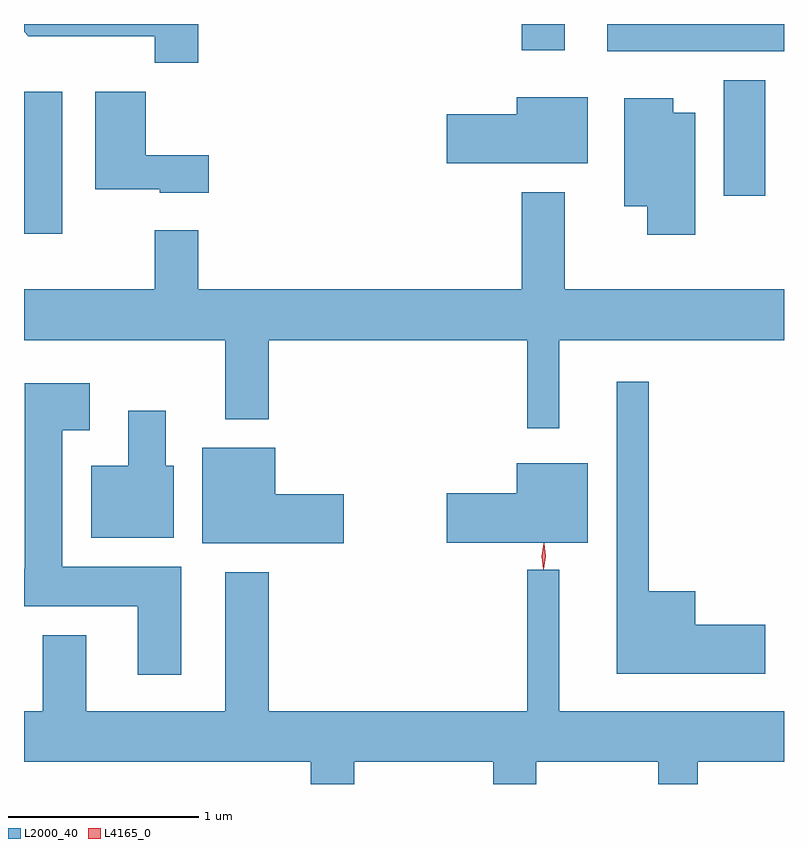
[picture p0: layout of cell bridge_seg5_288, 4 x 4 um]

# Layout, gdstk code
import gdstk
lib = gdstk.Library(unit=1e-6, precision=1e-09)
def R(c, l, rs):  # rectangles x0, y0, x1, y1
    for r in rs: c.add(gdstk.rectangle(r[:2], r[2:], *l))
def P(c, l, *ps):  # polygons
    for p in ps: c.add(gdstk.Polygon(p, *l))
L2000_40 = (2000, 40)
L4165_0 = (4165, 0)

bridge_seg5_288 = lib.new_cell('bridge_seg5_288')
R(bridge_seg5_288, L2000_40, [(668.542,1512.856,668.744,1513.604), (672.226,1513.056,672.444,1513.664), (671.613,1513.816,672.542,1513.96), (671.161,1513.821,671.389,1513.96)])
P(bridge_seg5_288, L2000_40, [(669.459,1513.96),(668.542,1513.96),(668.542,1513.918),(668.564,1513.896),(669.231,1513.896),(669.231,1513.756),(669.459,1513.756)],
  [(669.514,1513.269),(669.184,1513.269),(669.184,1513.604),(668.916,1513.604),(668.916,1513.091),(669.256,1513.091),(669.256,1513.071),(669.514,1513.071)],
  [(671.509,1513.574),(671.136,1513.574),(671.136,1513.484),(670.766,1513.484),(670.766,1513.226),(671.509,1513.226)],
  [(672.074,1513.494),(671.959,1513.494),(671.959,1513.569),(671.701,1513.569),(671.701,1513.001),(671.821,1513.001),(671.821,1512.851),(672.074,1512.851)],
  [(671.359,1512.296),(672.542,1512.296),(672.542,1512.564),(671.389,1512.564),(671.389,1513.074),(671.161,1513.074),(671.161,1512.564),(669.459,1512.564),(669.459,1512.874),(669.231,1512.874),(669.231,1512.564),(668.542,1512.564),(668.542,1512.296),(669.601,1512.296),(669.601,1511.881),(669.829,1511.881),(669.829,1512.296),(671.191,1512.296),(671.191,1511.833),(671.359,1511.833)],
  [(672.444,1510.799),(672.074,1510.799),(672.074,1510.974),(671.829,1510.974),(671.829,1512.078),(671.661,1512.078),(671.661,1510.541),(672.444,1510.541)],
  [(669.369,1511.104),(668.744,1511.104),(668.744,1511.821),(668.889,1511.821),(668.889,1512.069),(668.546,1512.069),(668.546,1511.094),(668.542,1511.094),(668.542,1510.896),(669.141,1510.896),(669.141,1510.536),(669.369,1510.536)],
  [(669.329,1511.634),(669.289,1511.634),(669.289,1511.924),(669.091,1511.924),(669.091,1511.634),(668.896,1511.634),(668.896,1511.256),(669.329,1511.256)],
  [(670.224,1511.484),(669.864,1511.484),(669.864,1511.729),(669.481,1511.729),(669.481,1511.226),(670.224,1511.226)],
  [(671.509,1511.649),(671.136,1511.649),(671.136,1511.489),(670.766,1511.489),(670.766,1511.231),(671.509,1511.231)],
  [(670.279,1510.076),(671.011,1510.076),(671.011,1509.96),(671.239,1509.96),(671.239,1510.076),(671.881,1510.076),(671.881,1509.96),(672.089,1509.96),(672.089,1510.076),(672.542,1510.076),(672.542,1510.344),(671.359,1510.344),(671.359,1511.088),(671.191,1511.088),(671.191,1510.344),(669.829,1510.344),(669.829,1511.074),(669.601,1511.074),(669.601,1510.344),(668.869,1510.344),(668.869,1510.744),(668.641,1510.744),(668.641,1510.344),(668.542,1510.344),(668.542,1510.076),(670.051,1510.076),(670.051,1509.96),(670.279,1509.96)])
P(bridge_seg5_288, L4165_0, [(671.276,1511.093),(671.268,1511.156),(671.278,1511.219),(671.279,1511.22),(671.279,1511.219),(671.288,1511.156),(671.278,1511.093),(671.277,1511.093)],
  [(671.276,1511.09),(671.268,1511.158),(671.278,1511.226),(671.278,1511.226),(671.279,1511.226),(671.288,1511.158),(671.278,1511.09),(671.277,1511.09)])

lib.write_gds('bridge_seg5_288.gds')
